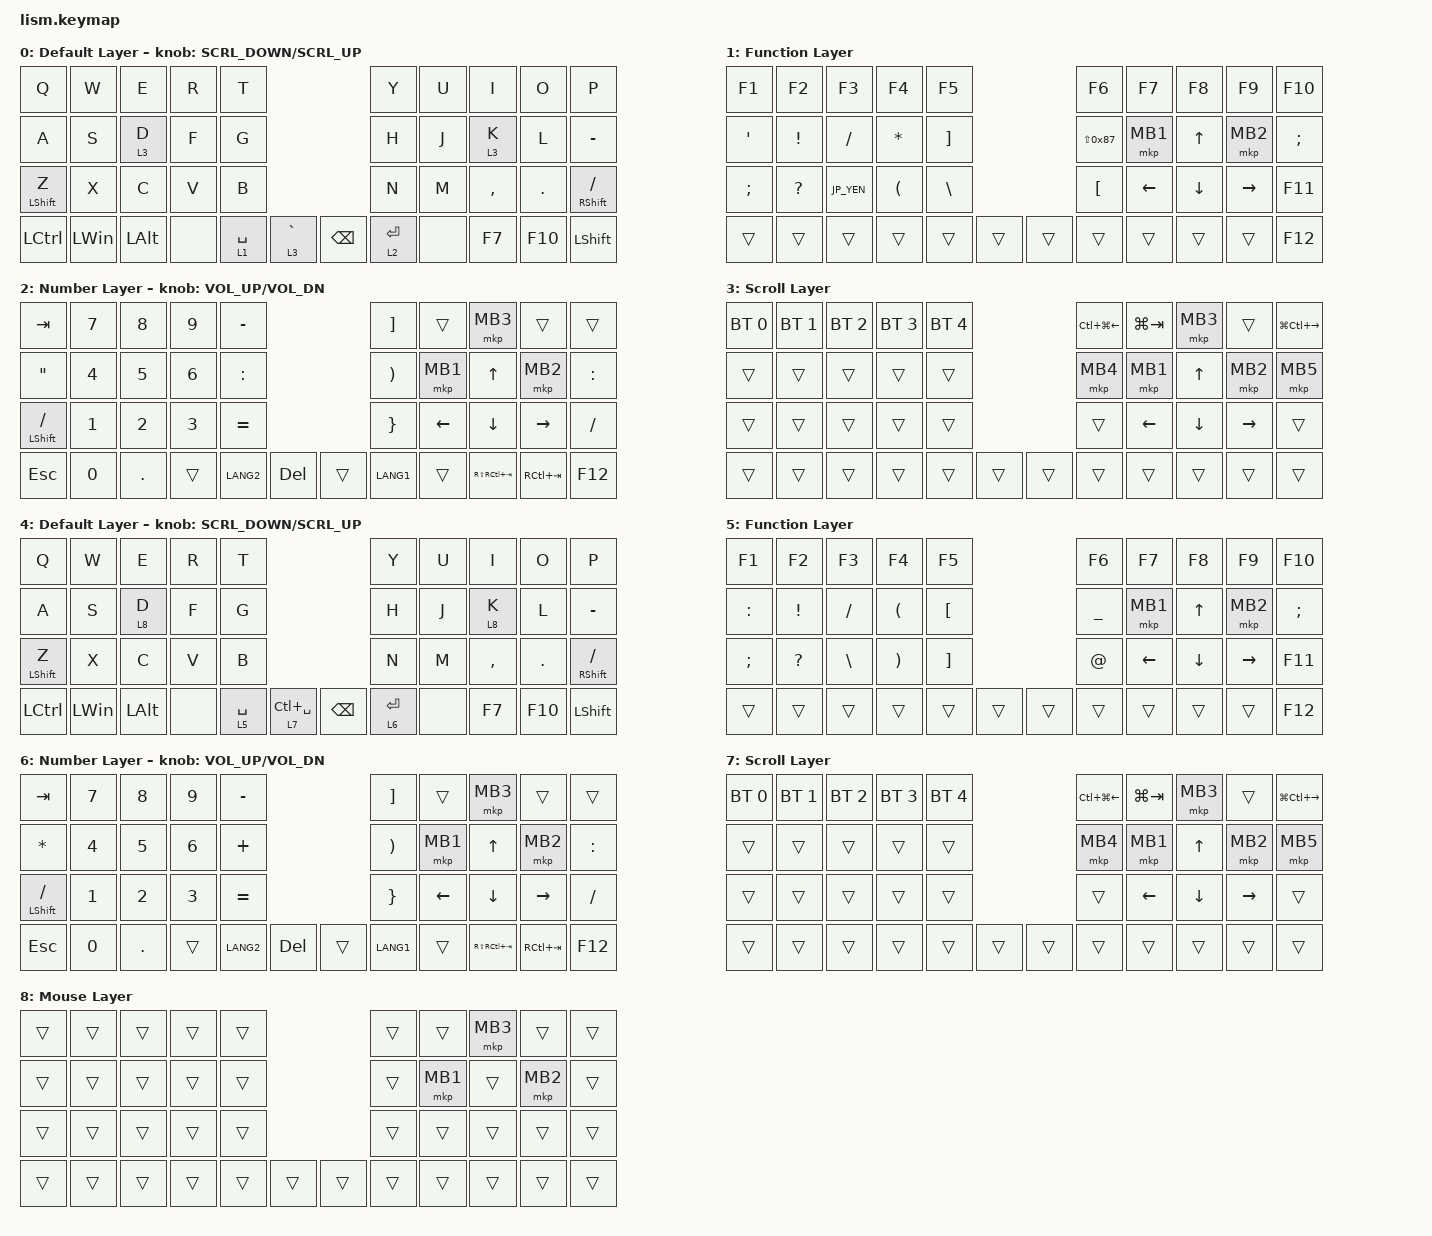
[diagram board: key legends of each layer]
#define ZMK_POINTING_DEFAULT_SCRL_VAL 200

#include <dt-bindings/zmk/mouse.h>
#include <behaviors.dtsi>
#include <dt-bindings/zmk/bt.h>
#include <dt-bindings/zmk/keys.h>
#include <dt-bindings/zmk/pointing.h>

// OS設定を日本語キーボードのまま使用するための変換定義

#define JP_DQUOTE       AT                // "
#define JP_AMPERSAND    CARET             // &
#define JP_QUOTE        AMPERSAND         // '
#define JP_EQUAL        UNDER             // =
#define JP_CARET        EQUAL             // ^
#define JP_YEN          0x89              // ¥
#define JP_PLUS         COLON             // +
#define JP_TILDE        PLUS              // ~
#define JP_PIPE         LS(0x89)          // |
#define JP_AT           LEFT_BRACKET      // @
#define JP_COLON        SINGLE_QUOTE      // :
#define JP_ASTERISK     DOUBLE_QUOTES     // *
#define JP_BACKQUOTE    LEFT_BRACE        // `
#define JP_UNDERSCORE   LS(0x87)          // _
#define JP_LBRACKET     RIGHT_BRACKET     // [
#define JP_RBRACKET     BACKSLASH         // ]
#define JP_LPAREN       ASTERISK          // (
#define JP_RPAREN       LEFT_PARENTHESIS  // )
#define JP_LBRACE       RIGHT_BRACE       // {
#define JP_RBRACE       PIPE              // }
#define JP_KANA         LANGUAGE_1        // かな
#define JP_EISU         LANGUAGE_2        // 英数
#define JP_HANZEN       GRAVE             // 半角/全角

&mt {
    tapping-term-ms = <300>;
    flavor = "balanced";
};

&lt { quick-tap-ms = <300>; };

/ {
    macros {
        emoji: emoji_macro {
            compatible = "zmk,behavior-macro";
            label = "EMOJI";
            #binding-cells = <0>;
            bindings =
                <&macro_press>,
                <&kp CAPSLOCK>,
                <&macro_tap>,
                <&kp E>,
                <&macro_release>,
                <&kp CAPSLOCK>;
        };
    };

    behaviors {
        encoder_msc: sensor_rotate_msc {
            compatible = "zmk,behavior-sensor-rotate-var";
            #sensor-binding-cells = <2>;
            bindings = <&msc>, <&msc>;

            tap-ms = <20>;
        };

        encoder_kp: sensor_rotate_kp {
            compatible = "zmk,behavior-sensor-rotate-var";
            #sensor-binding-cells = <2>;
            bindings = <&kp>, <&kp>;
        };
    };

    combos {
        compatible = "zmk,combos";

        tab {
            bindings = <&kp TAB>;
            key-positions = <11 12>;
            layers = <0>;
        };

        stab {
            bindings = <&kp LS(TAB)>;
            key-positions = <12 13>;
        };

        btreset {
            bindings = <&bt BT_CLR>;
            key-positions = <0 4>;
            layers = <3>;
        };

        boot {
            bindings = <&bootloader>;
            key-positions = <1 2 3>;
            layers = <3>;
        };

        dq {
            bindings = <&kp DQT>;
            key-positions = <18 17>;
        };

        to_ios {
            bindings = <&to 4>;
            key-positions = <30 41>;
            layers = <0>;
        };

        to_win {
            bindings = <&to 0>;
            key-positions = <30 41>;
            layers = <4>;
        };

        ex {
            bindings = <&none>;
            key-positions = <7 16 18 30 20 41>;
        };
    };

    keymap {
        compatible = "zmk,keymap";

        default_layer {
            display-name = "Default Layer";
            bindings = <
&kp Q             &kp W         &kp E         &kp R  &kp T                                      &kp Y        &kp U  &kp I      &kp O    &kp P
&kp A             &kp S         &lt 3 D       &kp F  &kp G                                      &kp H        &kp J  &lt 3 K    &kp L    &kp MINUS
&mt LEFT_SHIFT Z  &kp X         &kp C         &kp V  &kp B                                      &kp N        &kp M  &kp COMMA  &kp DOT  &mt RIGHT_SHIFT SLASH
&kp LCTRL         &kp LEFT_WIN  &kp LEFT_ALT  &none  &lt 1 SPACE  &lt 3 GRAVE    &kp BACKSPACE  &lt 2 ENTER  &none  &kp F7     &kp F10  &kp LEFT_SHIFT
            >;

            sensor-bindings = <&encoder_msc SCRL_DOWN SCRL_UP>;
        };

        Function {
            display-name = "Function Layer";
            bindings = <
&kp F1         &kp F2           &kp F3      &kp F4         &kp F5                             &kp F6             &kp F7    &kp F8    &kp F9     &kp F10
&kp JP_COLON   &kp EXCLAMATION  &kp SLASH   &kp JP_LPAREN  &kp JP_LBRACKET                    &kp JP_UNDERSCORE  &mkp MB1  &kp UP    &mkp MB2   &kp SEMICOLON
&kp SEMICOLON  &kp QUESTION     &kp JP_YEN  &kp JP_RPAREN  &kp JP_RBRACKET                    &kp JP_AT          &kp LEFT  &kp DOWN  &kp RIGHT  &kp F11
&trans         &trans           &trans      &trans         &trans           &trans    &trans  &trans             &trans    &trans    &trans     &kp F12
            >;
        };

        Number {
            display-name = "Number Layer";
            bindings = <
&kp TAB               &kp N7        &kp N8        &kp N9        &kp MINUS                       &kp RIGHT_BRACKET  &trans    &mkp MB3         &trans       &trans
&kp JP_ASTERISK       &kp NUMBER_4  &kp N5        &kp NUMBER_6  &kp JP_PLUS                     &kp RPAR           &mkp MB1  &kp UP           &mkp MB2     &kp COLON
&mt LEFT_SHIFT SLASH  &kp NUMBER_1  &kp NUMBER_2  &kp NUMBER_3  &kp EQUAL                       &kp RIGHT_BRACE    &kp LEFT  &kp DOWN         &kp RIGHT    &kp SLASH
&kp ESCAPE            &kp N0        &kp PERIOD    &trans        &kp LANG2    &kp DEL    &trans  &kp LANG1          &trans    &kp RS(RC(TAB))  &kp RC(TAB)  &kp F12
            >;

            sensor-bindings = <&encoder_kp C_VOL_UP C_VOL_DN>;
        };

        Scroll {
            display-name = "Scroll Layer";
            bindings = <
&bt BT_SEL 0  &bt BT_SEL 1  &bt BT_SEL 2  &bt BT_SEL 3  &bt BT_SEL 4                    &kp LC(LG(LEFT))  &kp LG(TAB)  &mkp MB3  &trans     &kp LG(LC(RIGHT))
&trans        &trans        &trans        &trans        &trans                          &mkp MB4          &mkp MB1     &kp UP    &mkp MB2   &mkp MB5
&trans        &trans        &trans        &trans        &trans                          &trans            &kp LEFT     &kp DOWN  &kp RIGHT  &trans
&trans        &trans        &trans        &trans        &trans        &trans    &trans  &trans            &trans       &trans    &trans     &trans
            >;
        };

        iOS_default_layer {
            display-name = "Default Layer";
            bindings = <
&kp Q             &kp W         &kp E         &kp R  &kp T                                          &kp Y        &kp U  &kp I      &kp O    &kp P
&kp A             &kp S         &lt 8 D       &kp F  &kp G                                          &kp H        &kp J  &lt 8 K    &kp L    &kp MINUS
&mt LEFT_SHIFT Z  &kp X         &kp C         &kp V  &kp B                                          &kp N        &kp M  &kp COMMA  &kp DOT  &mt RIGHT_SHIFT SLASH
&kp LCTRL         &kp LEFT_WIN  &kp LEFT_ALT  &none  &lt 5 SPACE  &lt 7 LC(SPACE)    &kp BACKSPACE  &lt 6 ENTER  &none  &kp F7     &kp F10  &kp LEFT_SHIFT
            >;

            sensor-bindings = <&encoder_msc SCRL_DOWN SCRL_UP>;
        };

        iOS_Function {
            display-name = "Function Layer";
            bindings = <
&kp F1         &kp F2           &kp F3         &kp F4                 &kp F5                               &kp F6          &kp F7    &kp F8    &kp F9     &kp F10
&kp COLON      &kp EXCLAMATION  &kp SLASH      &kp LEFT_PARENTHESIS   &kp LEFT_BRACKET                     &kp UNDERSCORE  &mkp MB1  &kp UP    &mkp MB2   &kp SEMICOLON
&kp SEMICOLON  &kp QUESTION     &kp BACKSLASH  &kp RIGHT_PARENTHESIS  &kp RIGHT_BRACKET                    &kp AT_SIGN     &kp LEFT  &kp DOWN  &kp RIGHT  &kp F11
&trans         &trans           &trans         &trans                 &trans             &trans    &trans  &trans          &trans    &trans    &trans     &kp F12
            >;
        };

        iOS_Number {
            display-name = "Number Layer";
            bindings = <
&kp TAB               &kp N7        &kp N8        &kp N9        &kp MINUS                     &kp RIGHT_BRACKET  &trans    &mkp MB3         &trans       &trans
&kp ASTERISK          &kp NUMBER_4  &kp N5        &kp NUMBER_6  &kp PLUS                      &kp RPAR           &mkp MB1  &kp UP           &mkp MB2     &kp COLON
&mt LEFT_SHIFT SLASH  &kp NUMBER_1  &kp NUMBER_2  &kp NUMBER_3  &kp EQUAL                     &kp RIGHT_BRACE    &kp LEFT  &kp DOWN         &kp RIGHT    &kp SLASH
&kp ESCAPE            &kp N0        &kp PERIOD    &trans        &kp LANG2  &kp DEL    &trans  &kp LANG1          &trans    &kp RS(RC(TAB))  &kp RC(TAB)  &kp F12
            >;

            sensor-bindings = <&encoder_kp C_VOL_UP C_VOL_DN>;
        };

        iOS_Scroll {
            display-name = "Scroll Layer";
            bindings = <
&bt BT_SEL 0  &bt BT_SEL 1  &bt BT_SEL 2  &bt BT_SEL 3  &bt BT_SEL 4                    &kp LC(LG(LEFT))  &kp LG(TAB)  &mkp MB3  &trans     &kp LG(LC(RIGHT))
&trans        &trans        &trans        &trans        &trans                          &mkp MB4          &mkp MB1     &kp UP    &mkp MB2   &mkp MB5
&trans        &trans        &trans        &trans        &trans                          &trans            &kp LEFT     &kp DOWN  &kp RIGHT  &trans
&trans        &trans        &trans        &trans        &trans        &trans    &trans  &trans            &trans       &trans    &trans     &trans
            >;
        };

        Mouse {
            display-name = "Mouse Layer";
            bindings = <
&trans  &trans  &trans  &trans  &trans                    &trans  &trans    &mkp MB3  &trans    &trans
&trans  &trans  &trans  &trans  &trans                    &trans  &mkp MB1  &trans    &mkp MB2  &trans
&trans  &trans  &trans  &trans  &trans                    &trans  &trans    &trans    &trans    &trans
&trans  &trans  &trans  &trans  &trans  &trans    &trans  &trans  &trans    &trans    &trans    &trans
            >;
        };
    };
};
